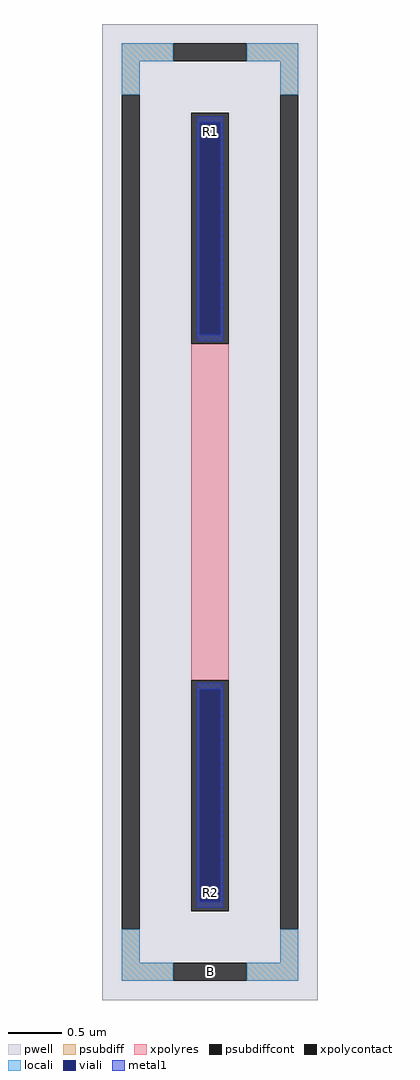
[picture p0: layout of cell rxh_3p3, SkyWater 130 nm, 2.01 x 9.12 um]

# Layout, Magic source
magic
tech sky130A
magscale 1 2
<< pwell >>
rect -201 -912 201 912
<< psubdiff >>
rect -165 842 -69 876
rect 69 842 165 876
rect -165 780 -131 842
rect 131 780 165 842
rect -165 -842 -131 -780
rect 131 -842 165 -780
rect -165 -876 -69 -842
rect 69 -876 165 -842
<< psubdiffcont >>
rect -69 842 69 876
rect -165 -780 -131 780
rect 131 -780 165 780
rect -69 -876 69 -842
<< xpolycontact >>
rect -35 314 35 746
rect -35 -746 35 -314
<< xpolyres >>
rect -35 -314 35 314
<< locali >>
rect -165 842 -69 876
rect 69 842 165 876
rect -165 780 -131 842
rect 131 780 165 842
rect -165 -842 -131 -780
rect 131 -842 165 -780
rect -165 -876 -69 -842
rect 69 -876 165 -842
<< viali >>
rect -19 331 19 728
rect -19 -728 19 -331
<< metal1 >>
rect -25 728 25 740
rect -25 331 -19 728
rect 19 331 25 728
rect -25 319 25 331
rect -25 -331 25 -319
rect -25 -728 -19 -331
rect 19 -728 25 -331
rect -25 -740 25 -728
<< labels >>
rlabel psubdiffcont 0 -859 0 -859 0 B
port 1 nsew
rlabel xpolycontact 0 711 0 711 0 R1
port 2 nsew
rlabel xpolycontact 0 -711 0 -711 0 R2
port 3 nsew
<< properties >>
string FIXED_BBOX -148 -859 148 859
string gencell sky130_fd_pr__res_xhigh_po_0p35
string library sky130
string MASKHINTS_URPM -130 -802 130 802
string parameters w 0.350 l 3.3 m 1 nx 1 wmin 0.350 lmin 0.50 class resistor rho 2000 val 2875.143 dummy 0 dw 0.0 term 188.2 sterm 0.0 caplen 0 wmax 0.350 guard 1 glc 1 grc 1 gtc 1 gbc 1 compatible {sky130_fd_pr__res_xhigh_po_0p35  sky130_fd_pr__res_xhigh_po_0p69 sky130_fd_pr__res_xhigh_po_1p41  sky130_fd_pr__res_xhigh_po_2p85 sky130_fd_pr__res_xhigh_po_5p73} snake 0 full_metal 1 n_guard 0 hv_guard 0 vias 1 viagb 0 viagt 0 viagl 0 viagr 0 doports 1
<< end >>
